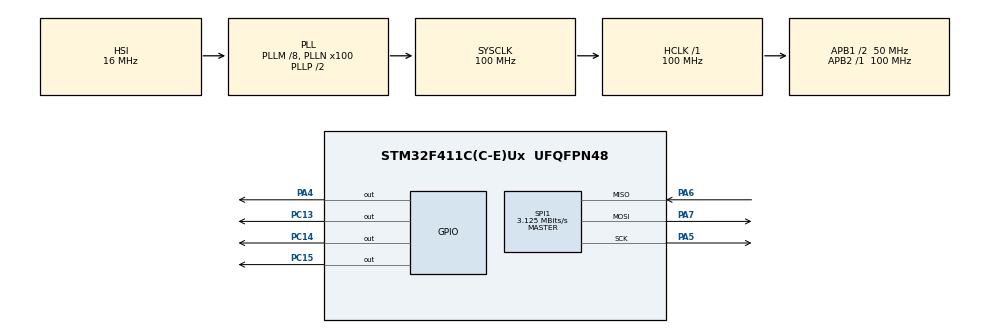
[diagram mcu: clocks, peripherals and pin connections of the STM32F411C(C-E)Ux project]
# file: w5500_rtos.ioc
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FREERTOS.Tasks01=EthernetServerT,2,512,Task_EthernetServer,Default,NULL,Dynamic,NULL,NULL
FREERTOS.configUSE_NEWLIB_REENTRANT=1
Mcu.Family=STM32F4
Mcu.Name=STM32F411C(C-E)Ux
Mcu.Package=UFQFPN48
NVIC.PriorityGroup=NVIC_PRIORITYGROUP_4
NVIC.TIM4_IRQn=true\:15\:0\:false\:false\:true\:false\:false\:true\:true
NVIC.TimeBase=TIM4_IRQn
NVIC.TimeBaseIP=TIM4
PA13.Mode=Serial_Wire
PA13.Signal=SYS_JTMS-SWDIO
PA14.Mode=Serial_Wire
PA14.Signal=SYS_JTCK-SWCLK
PA4.Signal=GPIO_Output
PA5.Mode=Full_Duplex_Master
PA5.Signal=SPI1_SCK
PA6.Mode=Full_Duplex_Master
PA6.Signal=SPI1_MISO
PA7.Mode=Full_Duplex_Master
PA7.Signal=SPI1_MOSI
PC13-ANTI_TAMP.Signal=GPIO_Output
PC14-OSC32_IN.Signal=GPIO_Output
PC15-OSC32_OUT.Signal=GPIO_Output
PH0\ -\ OSC_IN.Mode=HSE-External-Oscillator
PH0\ -\ OSC_IN.Signal=RCC_OSC_IN
PH1\ -\ OSC_OUT.Mode=HSE-External-Oscillator
PH1\ -\ OSC_OUT.Signal=RCC_OSC_OUT
ProjectManager.HeapSize=0x200
ProjectManager.StackSize=0x400
ProjectManager.TargetToolchain=STM32CubeIDE
RCC.48MHZClocksFreq_Value=50000000
RCC.AHBFreq_Value=100000000
RCC.APB1CLKDivider=RCC_HCLK_DIV2
RCC.APB1Freq_Value=50000000
RCC.APB1TimFreq_Value=100000000
RCC.APB2Freq_Value=100000000
RCC.APB2TimFreq_Value=100000000
RCC.CortexFreq_Value=100000000
RCC.HCLKFreq_Value=100000000
RCC.HSE_VALUE=25000000
RCC.HSI_VALUE=16000000
RCC.LSE_VALUE=32768
RCC.PLLM=8
RCC.PLLN=100
RCC.SYSCLKFreq_VALUE=100000000
RCC.SYSCLKSource=RCC_SYSCLKSOURCE_PLLCLK
RCC.VCOOutputFreq_Value=200000000
SPI1.BaudRatePrescaler=SPI_BAUDRATEPRESCALER_32
SPI1.CalculateBaudRate=3.125 MBits/s
SPI1.Direction=SPI_DIRECTION_2LINES
SPI1.Mode=SPI_MODE_MASTER
SPI1.VirtualType=VM_MASTER
VP_FREERTOS_VS_CMSIS_V1.Mode=CMSIS_V1
VP_SYS_VS_tim4.Mode=TIM4
board=custom

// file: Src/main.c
/* USER CODE BEGIN Header */
/**
  ******************************************************************************
  * @file           : main.c
  * @brief          : Main program body
  ******************************************************************************
  * @attention
  *
  * Copyright (c) 2025 STMicroelectronics.
  * All rights reserved.
  *
  * This software is licensed under terms that can be found in the LICENSE file
  * in the root directory of this software component.
  * If no LICENSE file comes with this software, it is provided AS-IS.
  *
  ******************************************************************************
  */
/* USER CODE END Header */
#include "main.h"
#include "cmsis_os.h"

/* USER CODE BEGIN Includes */
#include "wizchip_conf.h"
#include "socket.h"
#include <string.h>
#include <stdio.h>
/* USER CODE END Includes */

SPI_HandleTypeDef hspi1;

osThreadId EthernetServerTHandle;

void SystemClock_Config(void);
static void MX_GPIO_Init(void);
static void MX_SPI1_Init(void);
void Task_EthernetServer(void const * argument);

/* USER CODE BEGIN PFP */
#define PC_SERVER_IP  {192,168,0,114}
#define SERVER_PORT 5000
#define SOCKET_NUM 0
/* USER CODE END PFP */

/* USER CODE BEGIN 0 */
void cs_sel(void) { HAL_GPIO_WritePin(GPIOA, GPIO_PIN_4, GPIO_PIN_RESET); }
void cs_desel(void) { HAL_GPIO_WritePin(GPIOA, GPIO_PIN_4, GPIO_PIN_SET); }
uint8_t spi_rb(void) {
    uint8_t rx;
    HAL_SPI_Receive(&hspi1, &rx, 1, 100);
    return rx;
}
void spi_wb(uint8_t wb) { HAL_SPI_Transmit(&hspi1, &wb, 1, 100); }

void network_init(void) {
    wiz_NetInfo net_info = {
        .mac = {0x00, 0x08, 0xDC, 0x12, 0x34, 0x56},
        .ip = {192, 168, 0, 137},
        .sn = {255, 255, 255, 0},
        .gw = {192, 168, 0, 1},
        .dhcp = NETINFO_STATIC
    };
    wizchip_setnetinfo(&net_info);
}

void handle_command(uint8_t *buffer, uint8_t sock) {
    buffer[strlen((char *)buffer)] = '\0'; // Null terminate

    if (strcmp((char *)buffer, "On1") == 0) {
        HAL_GPIO_WritePin(GPIOC, GPIO_PIN_13, GPIO_PIN_SET);
        send(sock, (uint8_t *)"a", 1);
    }
    else if (strcmp((char *)buffer, "Off1") == 0) {
        HAL_GPIO_WritePin(GPIOC, GPIO_PIN_13, GPIO_PIN_RESET);
        send(sock, (uint8_t *)"x", 1);
    }
    else if (strcmp((char *)buffer, "On2") == 0) {
        HAL_GPIO_WritePin(GPIOC, GPIO_PIN_14, GPIO_PIN_SET);
        send(sock, (uint8_t *)"b", 1);
    }
    else if (strcmp((char *)buffer, "Off2") == 0) {
        HAL_GPIO_WritePin(GPIOC, GPIO_PIN_14, GPIO_PIN_RESET);
        send(sock, (uint8_t *)"y", 1);
    }
    else if (strcmp((char *)buffer, "On3") == 0) {
        HAL_GPIO_WritePin(GPIOC, GPIO_PIN_15, GPIO_PIN_SET);
        send(sock, (uint8_t *)"c", 1);
    }
    else if (strcmp((char *)buffer, "Off3") == 0) {
        HAL_GPIO_WritePin(GPIOC, GPIO_PIN_15, GPIO_PIN_RESET);
        send(sock, (uint8_t *)"z", 1);
    }
    else if (strcmp((char *)buffer, "GET_STATUS") == 0) {
        uint8_t status_msg[3];
        status_msg[0] = (HAL_GPIO_ReadPin(GPIOC, GPIO_PIN_13) == GPIO_PIN_SET) ? 'a' : 'x';
        status_msg[1] = (HAL_GPIO_ReadPin(GPIOC, GPIO_PIN_14) == GPIO_PIN_SET) ? 'b' : 'y';
        status_msg[2] = (HAL_GPIO_ReadPin(GPIOC, GPIO_PIN_15) == GPIO_PIN_SET) ? 'c' : 'z';
        send(sock, status_msg, 3);  // Chỉ gửi 3 ký tự đầu tiên, không gửi '\0'
    }
    else if (strcmp((char *)buffer, "OnAll") == 0) {
        HAL_GPIO_WritePin(GPIOC, GPIO_PIN_13, GPIO_PIN_SET);
        HAL_GPIO_WritePin(GPIOC, GPIO_PIN_14, GPIO_PIN_SET);
        HAL_GPIO_WritePin(GPIOC, GPIO_PIN_15, GPIO_PIN_SET);

        // Gửi trạng thái mới về GUI
        uint8_t status_msg[3] = {'a', 'b', 'c'};
        send(sock, status_msg, 3);
    }
    else if (strcmp((char *)buffer, "OffAll") == 0) {
        HAL_GPIO_WritePin(GPIOC, GPIO_PIN_13, GPIO_PIN_RESET);
        HAL_GPIO_WritePin(GPIOC, GPIO_PIN_14, GPIO_PIN_RESET);
        HAL_GPIO_WritePin(GPIOC, GPIO_PIN_15, GPIO_PIN_RESET);

        // Gửi trạng thái mới về GUI
        uint8_t status_msg[3] = {'x', 'y', 'z'};
        send(sock, status_msg, 3);
    }
}

/* USER CODE END 0 */

int main(void)
{

  /* MCU Configuration--------------------------------------------------------*/

  /* Reset of all peripherals, Initializes the Flash interface and the Systick. */
  HAL_Init();

  /* Configure the system clock */
  SystemClock_Config();

  /* Initialize all configured peripherals */
  MX_GPIO_Init();
  MX_SPI1_Init();
  /* USER CODE BEGIN 2 */
  reg_wizchip_cs_cbfunc(cs_sel, cs_desel);
  reg_wizchip_spi_cbfunc(spi_rb, spi_wb);
  wizchip_init(NULL, NULL);
  network_init();
  /* USER CODE END 2 */

  /* Create the thread(s) */
  /* definition and creation of EthernetServerT */
  osThreadDef(EthernetServerT, Task_EthernetServer, osPriorityHigh, 0, 512);
  EthernetServerTHandle = osThreadCreate(osThread(EthernetServerT), NULL);

  /* Start scheduler */
  osKernelStart();

  /* We should never get here as control is now taken by the scheduler */

  /* Infinite loop */
  while (1)
  {

  }
}

void SystemClock_Config(void)
{
  RCC_OscInitTypeDef RCC_OscInitStruct = {0};
  RCC_ClkInitTypeDef RCC_ClkInitStruct = {0};

  /** Configure the main internal regulator output voltage
  */
  __HAL_RCC_PWR_CLK_ENABLE();
  __HAL_PWR_VOLTAGESCALING_CONFIG(PWR_REGULATOR_VOLTAGE_SCALE1);

  /** Initializes the RCC Oscillators according to the specified parameters
  * in the RCC_OscInitTypeDef structure.
  */
  RCC_OscInitStruct.OscillatorType = RCC_OSCILLATORTYPE_HSI;
  RCC_OscInitStruct.HSIState = RCC_HSI_ON;
  RCC_OscInitStruct.HSICalibrationValue = RCC_HSICALIBRATION_DEFAULT;
  RCC_OscInitStruct.PLL.PLLState = RCC_PLL_ON;
  RCC_OscInitStruct.PLL.PLLSource = RCC_PLLSOURCE_HSI;
  RCC_OscInitStruct.PLL.PLLM = 8;
  RCC_OscInitStruct.PLL.PLLN = 100;
  RCC_OscInitStruct.PLL.PLLP = RCC_PLLP_DIV2;
  RCC_OscInitStruct.PLL.PLLQ = 4;
  if (HAL_RCC_OscConfig(&RCC_OscInitStruct) != HAL_OK)
  {
    Error_Handler();
  }

  /** Initializes the CPU, AHB and APB buses clocks
  */
  RCC_ClkInitStruct.ClockType = RCC_CLOCKTYPE_HCLK|RCC_CLOCKTYPE_SYSCLK
                              |RCC_CLOCKTYPE_PCLK1|RCC_CLOCKTYPE_PCLK2;
  RCC_ClkInitStruct.SYSCLKSource = RCC_SYSCLKSOURCE_PLLCLK;
  RCC_ClkInitStruct.AHBCLKDivider = RCC_SYSCLK_DIV1;
  RCC_ClkInitStruct.APB1CLKDivider = RCC_HCLK_DIV2;
  RCC_ClkInitStruct.APB2CLKDivider = RCC_HCLK_DIV1;

  if (HAL_RCC_ClockConfig(&RCC_ClkInitStruct, FLASH_LATENCY_3) != HAL_OK)
  {
    Error_Handler();
  }
}

static void MX_SPI1_Init(void)
{

  /* SPI1 parameter configuration*/
  hspi1.Instance = SPI1;
  hspi1.Init.Mode = SPI_MODE_MASTER;
  hspi1.Init.Direction = SPI_DIRECTION_2LINES;
  hspi1.Init.DataSize = SPI_DATASIZE_8BIT;
  hspi1.Init.CLKPolarity = SPI_POLARITY_LOW;
  hspi1.Init.CLKPhase = SPI_PHASE_1EDGE;
  hspi1.Init.NSS = SPI_NSS_SOFT;
  hspi1.Init.BaudRatePrescaler = SPI_BAUDRATEPRESCALER_32;
  hspi1.Init.FirstBit = SPI_FIRSTBIT_MSB;
  hspi1.Init.TIMode = SPI_TIMODE_DISABLE;
  hspi1.Init.CRCCalculation = SPI_CRCCALCULATION_DISABLE;
  hspi1.Init.CRCPolynomial = 10;
  if (HAL_SPI_Init(&hspi1) != HAL_OK)
  {
    Error_Handler();
  }

}

static void MX_GPIO_Init(void)
{
  GPIO_InitTypeDef GPIO_InitStruct = {0};

  /* GPIO Ports Clock Enable */
  __HAL_RCC_GPIOC_CLK_ENABLE();
  __HAL_RCC_GPIOH_CLK_ENABLE();
  __HAL_RCC_GPIOA_CLK_ENABLE();

  /*Configure GPIO pin Output Level */
  HAL_GPIO_WritePin(GPIOC, GPIO_PIN_13|GPIO_PIN_14|GPIO_PIN_15, GPIO_PIN_RESET);

  /*Configure GPIO pin Output Level */
  HAL_GPIO_WritePin(GPIOA, GPIO_PIN_4, GPIO_PIN_RESET);

  /*Configure GPIO pins : PC13 PC14 PC15 */
  GPIO_InitStruct.Pin = GPIO_PIN_13|GPIO_PIN_14|GPIO_PIN_15;
  GPIO_InitStruct.Mode = GPIO_MODE_OUTPUT_PP;
  GPIO_InitStruct.Pull = GPIO_NOPULL;
  GPIO_InitStruct.Speed = GPIO_SPEED_FREQ_LOW;
  HAL_GPIO_Init(GPIOC, &GPIO_InitStruct);

  /*Configure GPIO pin : PA4 */
  GPIO_InitStruct.Pin = GPIO_PIN_4;
  GPIO_InitStruct.Mode = GPIO_MODE_OUTPUT_PP;
  GPIO_InitStruct.Pull = GPIO_NOPULL;
  GPIO_InitStruct.Speed = GPIO_SPEED_FREQ_LOW;
  HAL_GPIO_Init(GPIOA, &GPIO_InitStruct);

}

void Task_EthernetServer(void const * argument)
{
    uint8_t sock = 0;
    uint8_t buffer[64];
    int32_t len = 0;
    int8_t socket_status = 0;

    /* Tạo socket TCP Server */
    if (socket(sock, Sn_MR_TCP, SERVER_PORT, 0) != sock)
    {
    	return;
    }
    listen(sock);

    for(;;)
    {
        socket_status = getSn_SR(sock);

        switch(socket_status)
        {
            case SOCK_ESTABLISHED:
                if (getSn_IR(sock) & Sn_IR_CON)
                {
                    setSn_IR(sock, Sn_IR_CON);
                }

                // Nhận dữ liệu từ client (GUI)
                len = recv(sock, buffer, sizeof(buffer) - 1);

                if (len > 0)
                {
                    buffer[len] = '\0'; // Đảm bảo kết thúc chuỗi
                    handle_command(buffer, sock);
                }
                break;

            case SOCK_CLOSE_WAIT:
                close(sock);

                // Khởi tạo lại socket và listen
                socket(sock, Sn_MR_TCP, SERVER_PORT, 0);
                listen(sock);
                break;

            case SOCK_CLOSED:
                // Nếu socket đóng, khởi tạo lại để listen
                socket(sock, Sn_MR_TCP, SERVER_PORT, 0);
                listen(sock);
                break;

            case SOCK_INIT:
                listen(sock);
                break;

            default:
                // Trạng thái khác → giữ lắng nghe
                break;
        }
        // Tránh chiếm CPU → delay FreeRTOS 10ms
        osDelay(10);
    }
}

void HAL_TIM_PeriodElapsedCallback(TIM_HandleTypeDef *htim)
{
  if (htim->Instance == TIM4) {
    HAL_IncTick();
  }
}

void Error_Handler(void)
{
  __disable_irq();
  while (1)
  {
  }
}
